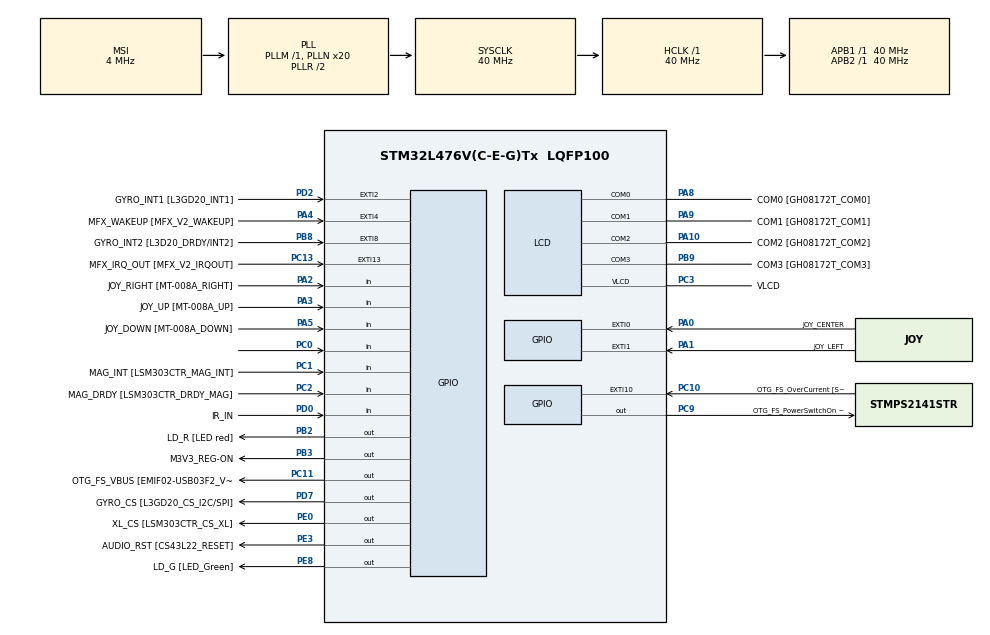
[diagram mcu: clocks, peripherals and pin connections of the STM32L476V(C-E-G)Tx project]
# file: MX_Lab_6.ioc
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Mcu.Family=STM32L4
Mcu.Name=STM32L476V(C-E-G)Tx
Mcu.Package=LQFP100
NVIC.EXTI0_IRQn=true\:0\:0\:false\:false\:true\:true\:true\:true
NVIC.EXTI1_IRQn=true\:0\:0\:false\:false\:true\:true\:true\:true
NVIC.LCD_IRQn=true\:0\:0\:false\:false\:true\:true\:false\:true
NVIC.PriorityGroup=NVIC_PRIORITYGROUP_4
NVIC.TIM7_IRQn=true\:0\:0\:false\:false\:true\:true\:true\:true
PA0.GPIO_Label=JOY_CENTER
PA0.GPIO_PuPd=GPIO_PULLDOWN
PA0.Signal=GPXTI0
PA1.GPIO_Label=JOY_LEFT
PA1.GPIO_PuPd=GPIO_PULLDOWN
PA1.Signal=GPXTI1
PA10.GPIO_Label=COM2 [GH08172T_COM2]
PA10.GPIO_Mode=GPIO_MODE_AF_PP
PA10.GPIO_PuPd=GPIO_NOPULL
PA10.GPIO_Speed=GPIO_SPEED_FREQ_LOW
PA10.Mode=1/4 Duty Cycle
PA10.Signal=LCD_COM2
PA11.GPIO_Label=OTG_FS_DM [EMIF02-USB03F2_D-out]
PA11.GPIO_Mode=GPIO_MODE_AF_PP
PA11.GPIO_PuPd=GPIO_NOPULL
PA11.GPIO_Speed=GPIO_SPEED_FREQ_VERY_HIGH
PA11.Signal=USB_OTG_FS_DM
PA12.GPIO_Label=OTG_FS_DP [EMIF02-USB03F2_D+out]
PA12.GPIO_Mode=GPIO_MODE_AF_PP
PA12.GPIO_PuPd=GPIO_NOPULL
PA12.GPIO_Speed=GPIO_SPEED_FREQ_VERY_HIGH
PA12.Signal=USB_OTG_FS_DP
PA13\ (JTMS-SWDIO).GPIO_Label=SWDIO
PA13\ (JTMS-SWDIO).Mode=Serial_Wire
PA13\ (JTMS-SWDIO).Signal=SYS_JTMS-SWDIO
PA14\ (JTCK-SWCLK).GPIO_Label=SWCLK
PA14\ (JTCK-SWCLK).Mode=Serial_Wire
PA14\ (JTCK-SWCLK).Signal=SYS_JTCK-SWCLK
PA15\ (JTDI).GPIO_Label=SEG10 [GH08172T_SEG10]
PA15\ (JTDI).GPIO_Mode=GPIO_MODE_AF_PP
PA15\ (JTDI).GPIO_PuPd=GPIO_NOPULL
PA15\ (JTDI).GPIO_Speed=GPIO_SPEED_FREQ_LOW
PA15\ (JTDI).Signal=LCD_SEG17
PA2.GPIO_Label=JOY_RIGHT [MT-008A_RIGHT]
PA2.GPIO_Mode=GPIO_MODE_INPUT
PA2.GPIO_PuPd=GPIO_PULLDOWN
PA2.Signal=GPIO_Input
PA3.GPIO_Label=JOY_UP [MT-008A_UP]
PA3.GPIO_Mode=GPIO_MODE_INPUT
PA3.GPIO_PuPd=GPIO_PULLDOWN
PA3.Signal=GPIO_Input
PA4.GPIO_Label=MFX_WAKEUP [MFX_V2_WAKEUP]
PA4.GPIO_ModeDefaultEXTI=GPIO_MODE_EVT_RISING
PA4.GPIO_PuPd=GPIO_NOPULL
PA4.Signal=GPXTI4
PA5.GPIO_Label=JOY_DOWN [MT-008A_DOWN]
PA5.GPIO_Mode=GPIO_MODE_INPUT
PA5.GPIO_PuPd=GPIO_PULLDOWN
PA5.Signal=GPIO_Input
PA6.GPIO_Label=SEG23 [GH08172T_SEG23]
PA6.GPIO_Mode=GPIO_MODE_AF_PP
PA6.GPIO_PuPd=GPIO_NOPULL
PA6.GPIO_Speed=GPIO_SPEED_FREQ_LOW
PA6.Signal=LCD_SEG3
PA7.GPIO_Label=SEG0 [GH08172T_SEG0]
PA7.GPIO_Mode=GPIO_MODE_AF_PP
PA7.GPIO_PuPd=GPIO_NOPULL
PA7.GPIO_Speed=GPIO_SPEED_FREQ_LOW
PA7.Signal=LCD_SEG4
PA8.GPIO_Label=COM0 [GH08172T_COM0]
PA8.GPIO_Mode=GPIO_MODE_AF_PP
PA8.GPIO_PuPd=GPIO_NOPULL
PA8.GPIO_Speed=GPIO_SPEED_FREQ_LOW
PA8.Mode=1/4 Duty Cycle
PA8.Signal=LCD_COM0
PA9.GPIO_Label=COM1 [GH08172T_COM1]
PA9.GPIO_Mode=GPIO_MODE_AF_PP
PA9.GPIO_PuPd=GPIO_NOPULL
PA9.GPIO_Speed=GPIO_SPEED_FREQ_LOW
PA9.Mode=1/4 Duty Cycle
PA9.Signal=LCD_COM1
PB0.GPIO_Label=SEG21 [GH08172T_SEG21]
PB0.GPIO_Mode=GPIO_MODE_AF_PP
PB0.GPIO_PuPd=GPIO_NOPULL
PB0.GPIO_Speed=GPIO_SPEED_FREQ_LOW
PB0.Signal=LCD_SEG5
PB1.GPIO_Label=SEG2 [GH08172T_SEG2]
PB1.GPIO_Mode=GPIO_MODE_AF_PP
PB1.GPIO_PuPd=GPIO_NOPULL
PB1.GPIO_Speed=GPIO_SPEED_FREQ_LOW
PB1.Signal=LCD_SEG6
PB10.GPIO_Label=MFX_I2C_SLC [MFX_V2_I2C_SCL]
PB10.GPIO_Mode=GPIO_MODE_AF_OD
PB10.GPIO_Pu=GPIO_PULLUP
PB10.GPIO_Speed=GPIO_SPEED_FREQ_VERY_HIGH
PB10.Signal=I2C2_SCL
PB11.GPIO_Label=MFX_I2C_SDA [MFX_V2_I2C_SDA]
PB11.GPIO_Mode=GPIO_MODE_AF_OD
PB11.GPIO_Pu=GPIO_PULLUP
PB11.GPIO_Speed=GPIO_SPEED_FREQ_VERY_HIGH
PB11.Signal=I2C2_SDA
PB12.GPIO_Label=SEG20 [GH08172T_SEG20]
PB12.GPIO_Mode=GPIO_MODE_AF_PP
PB12.GPIO_PuPd=GPIO_NOPULL
PB12.GPIO_Speed=GPIO_SPEED_FREQ_LOW
PB12.Signal=LCD_SEG12
PB13.GPIO_Label=SEG3 [GH08172T_SEG3]
PB13.GPIO_Mode=GPIO_MODE_AF_PP
PB13.GPIO_PuPd=GPIO_NOPULL
PB13.GPIO_Speed=GPIO_SPEED_FREQ_LOW
PB13.Signal=LCD_SEG13
PB14.GPIO_Label=SEG19 [GH08172T_SEG19]
PB14.GPIO_Mode=GPIO_MODE_AF_PP
PB14.GPIO_PuPd=GPIO_NOPULL
PB14.GPIO_Speed=GPIO_SPEED_FREQ_LOW
PB14.Signal=LCD_SEG14
PB15.GPIO_Label=SEG4 [GH08172T_SEG4]
PB15.GPIO_Mode=GPIO_MODE_AF_PP
PB15.GPIO_PuPd=GPIO_NOPULL
PB15.GPIO_Speed=GPIO_SPEED_FREQ_LOW
PB15.Signal=LCD_SEG15
PB2.GPIO_Label=LD_R [LED red]
PB2.GPIO_ModeDefaultOutputPP=GPIO_MODE_OUTPUT_PP
PB2.GPIO_PuPd=GPIO_PULLUP
PB2.GPIO_Speed=GPIO_SPEED_FREQ_VERY_HIGH
PB2.Signal=GPIO_Output
PB3\ (JTDO-TRACESWO).GPIO_Label=M3V3_REG-ON
PB3\ (JTDO-TRACESWO).GPIO_ModeDefaultOutputPP=GPIO_MODE_OUTPUT_PP
PB3\ (JTDO-TRACESWO).GPIO_PuPd=GPIO_NOPULL
PB3\ (JTDO-TRACESWO).GPIO_Speed=GPIO_SPEED_FREQ_LOW
PB3\ (JTDO-TRACESWO).Signal=GPIO_Output
PB4\ (NJTRST).GPIO_Label=SEG11 [GH08172T_SEG11]
PB4\ (NJTRST).GPIO_Mode=GPIO_MODE_AF_PP
PB4\ (NJTRST).GPIO_PuPd=GPIO_NOPULL
PB4\ (NJTRST).GPIO_Speed=GPIO_SPEED_FREQ_LOW
PB4\ (NJTRST).Signal=LCD_SEG8
PB5.GPIO_Label=SEG12 [GH08172T_SEG12]
PB5.GPIO_Mode=GPIO_MODE_AF_PP
PB5.GPIO_PuPd=GPIO_NOPULL
PB5.GPIO_Speed=GPIO_SPEED_FREQ_LOW
PB5.Signal=LCD_SEG9
PB6.GPIO_FM6=__NULL
PB6.GPIO_Label=I2C1_SCL [SSM-104-L-DH_SCL]
PB6.GPIO_Mode=GPIO_MODE_AF_OD
PB6.GPIO_Pu=GPIO_PULLUP
PB6.GPIO_Speed=GPIO_SPEED_FREQ_VERY_HIGH
PB6.Signal=I2C1_SCL
PB7.GPIO_FM7=__NULL
PB7.GPIO_Label=I2C1_SDA [SSM-104-L-DH_SDA]
PB7.GPIO_Mode=GPIO_MODE_AF_OD
PB7.GPIO_Pu=GPIO_PULLUP
PB7.GPIO_Speed=GPIO_SPEED_FREQ_VERY_HIGH
PB7.Signal=I2C1_SDA
PB8.GPIO_Label=GYRO_INT2 [L3D20_DRDY/INT2]
PB8.GPIO_ModeDefaultEXTI=GPIO_MODE_EVT_RISING
PB8.GPIO_PuPd=GPIO_NOPULL
PB8.Signal=GPXTI8
PB9.GPIO_FM9=__NULL
PB9.GPIO_Label=COM3 [GH08172T_COM3]
PB9.GPIO_Mode=GPIO_MODE_AF_PP
PB9.GPIO_PuPd=GPIO_NOPULL
PB9.GPIO_Speed=GPIO_SPEED_FREQ_LOW
PB9.Mode=1/4 Duty Cycle
PB9.Signal=LCD_COM3
PC0.Signal=GPIO_Input
PC1.GPIO_Label=MAG_INT [LSM303CTR_MAG_INT]
PC1.GPIO_Mode=GPIO_MODE_INPUT
PC1.GPIO_PuPd=GPIO_NOPULL
PC1.Signal=GPIO_Input
PC10.GPIO_Label=OTG_FS_OverCurrent [STMPS2141STR_FAULT]
PC10.GPIO_ModeDefaultEXTI=GPIO_MODE_EVT_RISING
PC10.GPIO_PuPd=GPIO_NOPULL
PC10.Signal=GPXTI10
PC11.GPIO_Label=OTG_FS_VBUS [EMIF02-USB03F2_Vbus]
PC11.GPIO_ModeDefaultOutputPP=GPIO_MODE_OUTPUT_PP
PC11.GPIO_PuPd=GPIO_NOPULL
PC11.GPIO_Speed=GPIO_SPEED_FREQ_LOW
PC11.Signal=GPIO_Output
PC13.GPIO_Label=MFX_IRQ_OUT [MFX_V2_IRQOUT]
PC13.GPIO_ModeDefaultEXTI=GPIO_MODE_EVT_RISING
PC13.GPIO_PuPd=GPIO_NOPULL
PC13.Signal=GPXTI13
PC14-OSC32_IN\ (PC14).Mode=LSE-External-Oscillator
PC14-OSC32_IN\ (PC14).Signal=RCC_OSC32_IN
PC15-OSC32_OUT\ (PC15).Mode=LSE-External-Oscillator
PC15-OSC32_OUT\ (PC15).Signal=RCC_OSC32_OUT
PC2.GPIO_Label=MAG_DRDY [LSM303CTR_DRDY_MAG]
PC2.GPIO_Mode=GPIO_MODE_INPUT
PC2.GPIO_PuPd=GPIO_NOPULL
PC2.Signal=GPIO_Input
PC3.GPIO_Label=VLCD
PC3.GPIO_Mode=GPIO_MODE_AF_PP
PC3.GPIO_PuPd=GPIO_NOPULL
PC3.GPIO_Speed=GPIO_SPEED_FREQ_LOW
PC3.Mode=1/4 Duty Cycle
PC3.Signal=LCD_VLCD
PC4.GPIO_Label=SEG22 [GH08172T_SEG22]
PC4.GPIO_Mode=GPIO_MODE_AF_PP
PC4.GPIO_PuPd=GPIO_NOPULL
PC4.GPIO_Speed=GPIO_SPEED_FREQ_LOW
PC4.Signal=LCD_SEG22
PC5.GPIO_Label=SEG1 [GH08172T_SEG1]
PC5.GPIO_Mode=GPIO_MODE_AF_PP
PC5.GPIO_PuPd=GPIO_NOPULL
PC5.GPIO_Speed=GPIO_SPEED_FREQ_LOW
PC5.Signal=LCD_SEG23
PC6.GPIO_Label=SEG14 [GH08172T_SEG14]
PC6.GPIO_Mode=GPIO_MODE_AF_PP
PC6.GPIO_PuPd=GPIO_NOPULL
PC6.GPIO_Speed=GPIO_SPEED_FREQ_LOW
PC6.Signal=LCD_SEG24
PC7.GPIO_Label=SEG9 [GH08172T_SEG9]
PC7.GPIO_Mode=GPIO_MODE_AF_PP
PC7.GPIO_PuPd=GPIO_NOPULL
PC7.GPIO_Speed=GPIO_SPEED_FREQ_LOW
PC7.Signal=LCD_SEG25
PC8.GPIO_Label=SEG13 [GH08172T_SEG13]
PC8.GPIO_Mode=GPIO_MODE_AF_PP
PC8.GPIO_PuPd=GPIO_NOPULL
PC8.GPIO_Speed=GPIO_SPEED_FREQ_LOW
PC8.Signal=LCD_SEG26
PC9.GPIO_Label=OTG_FS_PowerSwitchOn [STMPS2141STR_EN]
PC9.GPIO_ModeDefaultOutputPP=GPIO_MODE_OUTPUT_PP
PC9.GPIO_PuPd=GPIO_NOPULL
PC9.GPIO_Speed=GPIO_SPEED_FREQ_LOW
PC9.PinState=GPIO_PIN_SET
PC9.Signal=GPIO_Output
PD0.GPIO_Label=IR_IN
PD0.Signal=GPIO_Input
PD1.GPIO_Label=MEMS_SCK [L3GD20_SCL/SPC]
PD1.GPIO_Mode=GPIO_MODE_AF_PP
PD1.GPIO_PuPd=GPIO_NOPULL
PD1.GPIO_Speed=GPIO_SPEED_FREQ_VERY_HIGH
PD1.Signal=SPI2_SCK
PD10.GPIO_Label=SEG17 [GH08172T_SEG17]
PD10.GPIO_Mode=GPIO_MODE_AF_PP
PD10.GPIO_PuPd=GPIO_NOPULL
PD10.GPIO_Speed=GPIO_SPEED_FREQ_LOW
PD10.Signal=LCD_SEG30
PD11.GPIO_Label=SEG6 [GH08172T_SEG6]
PD11.GPIO_Mode=GPIO_MODE_AF_PP
PD11.GPIO_PuPd=GPIO_NOPULL
PD11.GPIO_Speed=GPIO_SPEED_FREQ_LOW
PD11.Signal=LCD_SEG31
PD12.GPIO_Label=SEG16 [GH08172T_SEG16]
PD12.GPIO_Mode=GPIO_MODE_AF_PP
PD12.GPIO_PuPd=GPIO_NOPULL
PD12.GPIO_Speed=GPIO_SPEED_FREQ_LOW
PD12.Signal=LCD_SEG32
PD13.GPIO_Label=SEG7 [GH08172T_SEG7]
PD13.GPIO_Mode=GPIO_MODE_AF_PP
PD13.GPIO_PuPd=GPIO_NOPULL
PD13.GPIO_Speed=GPIO_SPEED_FREQ_LOW
PD13.Signal=LCD_SEG33
PD14.GPIO_Label=SEG15 [GH08172T_SEG15]
PD14.GPIO_Mode=GPIO_MODE_AF_PP
PD14.GPIO_PuPd=GPIO_NOPULL
PD14.GPIO_Speed=GPIO_SPEED_FREQ_LOW
PD14.Signal=LCD_SEG34
PD15.GPIO_Label=SEG8 [GH08172T_SEG8]
PD15.GPIO_Mode=GPIO_MODE_AF_PP
PD15.GPIO_PuPd=GPIO_NOPULL
PD15.GPIO_Speed=GPIO_SPEED_FREQ_LOW
PD15.Signal=LCD_SEG35
PD2.GPIO_Label=GYRO_INT1 [L3GD20_INT1]
PD2.GPIO_ModeDefaultEXTI=GPIO_MODE_EVT_RISING
PD2.GPIO_PuPd=GPIO_NOPULL
PD2.Signal=GPXTI2
PD3.GPIO_Label=MEMS_MISO [L3GD20_SA0/SDO]
PD3.GPIO_Mode=GPIO_MODE_AF_PP
PD3.GPIO_PuPd=GPIO_NOPULL
PD3.GPIO_Speed=GPIO_SPEED_FREQ_VERY_HIGH
PD3.Signal=SPI2_MISO
PD4.GPIO_Label=MEMS_MOSI [L3GD20_SDA/SDI/SDO]
PD4.GPIO_Mode=GPIO_MODE_AF_PP
PD4.GPIO_PuPd=GPIO_NOPULL
PD4.GPIO_Speed=GPIO_SPEED_FREQ_VERY_HIGH
PD4.Signal=SPI2_MOSI
PD5.GPIO_Label=USART_TX
PD5.GPIO_Mode=GPIO_MODE_AF_PP
PD5.GPIO_PuPd=GPIO_PULLUP
PD5.GPIO_Speed=GPIO_SPEED_FREQ_VERY_HIGH
PD5.Signal=USART2_TX
PD6.GPIO_Label=USART_RX
PD6.GPIO_Mode=GPIO_MODE_AF_PP
PD6.GPIO_PuPd=GPIO_PULLUP
PD6.GPIO_Speed=GPIO_SPEED_FREQ_VERY_HIGH
PD6.Signal=USART2_RX
PD7.GPIO_Label=GYRO_CS [L3GD20_CS_I2C/SPI]
PD7.GPIO_ModeDefaultOutputPP=GPIO_MODE_OUTPUT_PP
PD7.GPIO_PuPd=GPIO_NOPULL
PD7.GPIO_Speed=GPIO_SPEED_FREQ_VERY_HIGH
PD7.Signal=GPIO_Output
PD8.GPIO_Label=SEG18 [GH08172T_SEG18]
PD8.GPIO_Mode=GPIO_MODE_AF_PP
PD8.GPIO_PuPd=GPIO_NOPULL
PD8.GPIO_Speed=GPIO_SPEED_FREQ_LOW
PD8.Signal=LCD_SEG28
PD9.GPIO_Label=SEG5 [GH08172T_SEG5]
PD9.GPIO_Mode=GPIO_MODE_AF_PP
PD9.GPIO_PuPd=GPIO_NOPULL
PD9.GPIO_Speed=GPIO_SPEED_FREQ_LOW
PD9.Signal=LCD_SEG29
PE0.GPIO_Label=XL_CS [LSM303CTR_CS_XL]
PE0.GPIO_ModeDefaultOutputPP=GPIO_MODE_OUTPUT_PP
PE0.GPIO_PuPd=GPIO_NOPULL
PE0.GPIO_Speed=GPIO_SPEED_FREQ_LOW
PE0.Signal=GPIO_Output
PE10.GPIO_Label=QSPI_CLK [N25Q128A13EF840E_C]
PE10.GPIO_Mode=GPIO_MODE_AF_PP
PE10.GPIO_PuPd=GPIO_NOPULL
PE10.GPIO_Speed=GPIO_SPEED_FREQ_VERY_HIGH
PE10.Signal=QUADSPI_CLK
PE11.GPIO_Label=QSPI_CS [N25Q128A13EF840E_S\#]
PE11.GPIO_Mode=GPIO_MODE_AF_PP
PE11.GPIO_PuPd=GPIO_NOPULL
PE11.GPIO_Speed=GPIO_SPEED_FREQ_VERY_HIGH
PE11.Signal=QUADSPI_NCS
PE12.GPIO_Label=QSPI_D0 [N25Q128A13EF840E_DQ0]
PE12.GPIO_Mode=GPIO_MODE_AF_PP
PE12.GPIO_PuPd=GPIO_NOPULL
PE12.GPIO_Speed=GPIO_SPEED_FREQ_VERY_HIGH
PE12.Signal=QUADSPI_BK1_IO0
PE13.GPIO_Label=QSPI_D1 [N25Q128A13EF840E_DQ1]
PE13.GPIO_Mode=GPIO_MODE_AF_PP
PE13.GPIO_PuPd=GPIO_NOPULL
PE13.GPIO_Speed=GPIO_SPEED_FREQ_VERY_HIGH
PE13.Signal=QUADSPI_BK1_IO1
PE14.GPIO_Label=QSPI_D2 [N25Q128A13EF840E_DQ2]
PE14.GPIO_Mode=GPIO_MODE_AF_PP
PE14.GPIO_PuPd=GPIO_NOPULL
PE14.GPIO_Speed=GPIO_SPEED_FREQ_VERY_HIGH
PE14.Signal=QUADSPI_BK1_IO2
PE15.GPIO_Label=QSPI_D3 [N25Q128A13EF840E_DQ3]
PE15.GPIO_Mode=GPIO_MODE_AF_PP
PE15.GPIO_PuPd=GPIO_NOPULL
PE15.GPIO_Speed=GPIO_SPEED_FREQ_VERY_HIGH
PE15.Signal=QUADSPI_BK1_IO3
PE2.GPIO_Label=SAI1_MCK [CS43L22_MCLK]
PE2.GPIO_Mode=GPIO_MODE_AF_PP
PE2.GPIO_PuPd=GPIO_NOPULL
PE2.GPIO_Speed=GPIO_SPEED_FREQ_VERY_HIGH
PE2.Signal=SAI1_MCLK_A
PE3.GPIO_Label=AUDIO_RST [CS43L22_RESET]
PE3.GPIO_ModeDefaultOutputPP=GPIO_MODE_OUTPUT_PP
PE3.GPIO_PuPd=GPIO_NOPULL
PE3.GPIO_Speed=GPIO_SPEED_FREQ_HIGH
PE3.Signal=GPIO_Output
PE4.GPIO_Label=SAI1_FS [CS43L22_LRCK]
PE4.GPIO_Mode=GPIO_MODE_AF_PP
PE4.GPIO_PuPd=GPIO_NOPULL
PE4.GPIO_Speed=GPIO_SPEED_FREQ_VERY_HIGH
PE4.Signal=SAI1_FS_A
PE5.GPIO_Label=SAI1_SCK [CS43L22_SCLK]
PE5.GPIO_Mode=GPIO_MODE_AF_PP
PE5.GPIO_PuPd=GPIO_NOPULL
PE5.GPIO_Speed=GPIO_SPEED_FREQ_VERY_HIGH
PE5.Signal=SAI1_SCK_A
PE6.GPIO_Label=SAI1_SD [CS43L22_SDIN]
PE6.GPIO_Mode=GPIO_MODE_AF_PP
PE6.GPIO_PuPd=GPIO_NOPULL
PE6.GPIO_Speed=GPIO_SPEED_FREQ_VERY_HIGH
PE6.Signal=SAI1_SD_A
PE7.GPIO_Label=AUDIO_DIN [MP34DT01_DOUT]
PE7.GPIO_Mode=GPIO_MODE_AF_PP
PE7.GPIO_PuPd=GPIO_NOPULL
PE7.GPIO_Speed=GPIO_SPEED_FREQ_VERY_HIGH
PE7.Signal=SAI1_SD_B
PE8.GPIO_Label=LD_G [LED_Green]
PE8.GPIO_ModeDefaultOutputPP=GPIO_MODE_OUTPUT_PP
PE8.GPIO_PuPd=GPIO_PULLUP
PE8.GPIO_Speed=GPIO_SPEED_FREQ_VERY_HIGH
PE8.Signal=GPIO_Output
PE9.GPIO_Label=AUDIO_CLK [MP34DT01_CLK]
PE9.GPIO_Mode=GPIO_MODE_AF_PP
PE9.GPIO_PuPd=GPIO_NOPULL
PE9.GPIO_Speed=GPIO_SPEED_FREQ_LOW
PE9.Signal=SAI1_FS_B
PH0-OSC_IN\ (PH0).Mode=HSE-External-Oscillator
PH0-OSC_IN\ (PH0).Signal=RCC_OSC_IN
PH1-OSC_OUT\ (PH1).Mode=HSE-External-Oscillator
PH1-OSC_OUT\ (PH1).Signal=RCC_OSC_OUT
ProjectManager.HeapSize=0x200
ProjectManager.StackSize=0x400
ProjectManager.TargetToolchain=MDK-ARM V5.32
RCC.ADCFreq_Value=48000000
RCC.AHBFreq_Value=40000000
RCC.APB1Freq_Value=40000000
RCC.APB1TimFreq_Value=40000000
RCC.APB2Freq_Value=40000000
RCC.APB2TimFreq_Value=40000000
RCC.CortexFreq_Value=40000000
RCC.HCLKFreq_Value=40000000
RCC.HSE_VALUE=8000000
RCC.HSI_VALUE=16000000
RCC.MSI_VALUE=4000000
RCC.PLLN=20
RCC.PLLSAI1N=24
RCC.PREFETCH_ENABLE=1
RCC.SYSCLKFreq_VALUE=40000000
RCC.SYSCLKSource=RCC_SYSCLKSOURCE_PLLCLK
RCC.USBFreq_Value=48000000
RCC.VCOOutputFreq_Value=80000000
TIM7.Period=199
TIM7.Prescaler=19
VP_RTC_VS_RTC_Activate.Mode=RTC_Enabled
VP_TIM7_VS_ClockSourceINT.Mode=Enable_Timer
board=STM32L476G-DISCO

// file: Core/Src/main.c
/* USER CODE BEGIN Header */
/**
  ******************************************************************************
  * @file           : main.c
  * @brief          : Main program body
  ******************************************************************************
  * @attention
  *
  * Copyright (c) 2024 STMicroelectronics.
  * All rights reserved.
  *
  * This software is licensed under terms that can be found in the LICENSE file
  * in the root directory of this software component.
  * If no LICENSE file comes with this software, it is provided AS-IS.
  *
  ******************************************************************************
  */
/* USER CODE END Header */
#include "main.h"

LCD_HandleTypeDef hlcd;

RTC_HandleTypeDef hrtc;

TIM_HandleTypeDef htim7;

/* USER CODE BEGIN PV */
volatile unsigned int irdat[SAMPLE_COUNT];
unsigned int z;
extern int flag;
#define IR_A 0x00ff22dd
#define IR_B 0x00ff02fd
#define IR_C 0x00ffc23d
#define IR_POWER 0x00ff629d
#define IR_UP 0x00ff9867
#define IR_DOWN 0x00ff38c7
#define IR_LEFT 0x00ff30cf
#define IR_RIGHT 0x00ff7a85
#define IR_CIRCLE 0x00ff18e7
/* USER CODE END PV */

void SystemClock_Config(void);
static void MX_GPIO_Init(void);
static void MX_RTC_Init(void);
static void MX_LCD_Init(void);
static void MX_TIM7_Init(void);

/* USER CODE BEGIN 0 */
uint32_t parseIRCode()
	{
    uint32_t num = 0;
		int count = 0;
		int arrayCount = 0;
		uint32_t mask = 0x80000000;
		/*skips header */
		while(irdat[arrayCount] !=0)
		{
			arrayCount++;
		}
		while(irdat[arrayCount] !=1)
		{
			arrayCount++;
		}
		/* skips header */
		while(arrayCount != SAMPLE_COUNT)
		{
			if(irdat[arrayCount] ==0)
			{
				count++;
			}
			else
			{
				if(count < 8 && count !=0)
				{
					mask/=2;
				}
				else if(count > 8 && count != 0)
				{
					num |= mask;
					mask/=2;
				}
				count = 0;
			}
			arrayCount++;
		}
		return num;
	}
/* USER CODE END 0 */

int main(void)
{

  /* MCU Configuration--------------------------------------------------------*/

  /* Reset of all peripherals, Initializes the Flash interface and the Systick. */
  HAL_Init();

  /* Configure the system clock */
  SystemClock_Config();

  /* Initialize all configured peripherals */
  MX_GPIO_Init();
  MX_RTC_Init();
  MX_LCD_Init();
  MX_TIM7_Init();
  /* USER CODE BEGIN 2 */
	HAL_TIM_Base_Start_IT(&htim7);
  /* USER CODE END 2 */

  /* Infinite loop */
  /* USER CODE BEGIN WHILE */
  while (1)
  {
		if(flag == 1)
		{
			uint32_t num = parseIRCode();
			if(num == IR_A)
			{
				break;
			}
			if(num == IR_B)
			{
				HAL_GPIO_TogglePin(LD_R_GPIO_Port, LD_R_Pin);
			}
			if(num == IR_C)
			{
				break;
			}
			if(num == IR_POWER)
			{
				break;
			}
			if(num == IR_UP)
			{
				break;
			}
			if(num == IR_DOWN)
			{
				break;
			}
			if(num == IR_LEFT)
			{
				break;
			}
			if(num == IR_RIGHT)
			{
				break;
			}
			if(num == IR_CIRCLE)
			{
				HAL_GPIO_TogglePin(LD_G_GPIO_Port, LD_G_Pin);
			}
			flag=0;
		}
    /* USER CODE END WHILE */

  }
}

void SystemClock_Config(void)
{
  RCC_OscInitTypeDef RCC_OscInitStruct = {0};
  RCC_ClkInitTypeDef RCC_ClkInitStruct = {0};

  /** Configure the main internal regulator output voltage
  */
  if (HAL_PWREx_ControlVoltageScaling(PWR_REGULATOR_VOLTAGE_SCALE1) != HAL_OK)
  {
    Error_Handler();
  }

  /** Configure LSE Drive Capability
  */
  HAL_PWR_EnableBkUpAccess();
  __HAL_RCC_LSEDRIVE_CONFIG(RCC_LSEDRIVE_LOW);

  /** Initializes the RCC Oscillators according to the specified parameters
  * in the RCC_OscInitTypeDef structure.
  */
  RCC_OscInitStruct.OscillatorType = RCC_OSCILLATORTYPE_LSI|RCC_OSCILLATORTYPE_LSE
                              |RCC_OSCILLATORTYPE_MSI;
  RCC_OscInitStruct.LSEState = RCC_LSE_ON;
  RCC_OscInitStruct.LSIState = RCC_LSI_ON;
  RCC_OscInitStruct.MSIState = RCC_MSI_ON;
  RCC_OscInitStruct.MSICalibrationValue = 0;
  RCC_OscInitStruct.MSIClockRange = RCC_MSIRANGE_6;
  RCC_OscInitStruct.PLL.PLLState = RCC_PLL_ON;
  RCC_OscInitStruct.PLL.PLLSource = RCC_PLLSOURCE_MSI;
  RCC_OscInitStruct.PLL.PLLM = 1;
  RCC_OscInitStruct.PLL.PLLN = 20;
  RCC_OscInitStruct.PLL.PLLP = RCC_PLLP_DIV7;
  RCC_OscInitStruct.PLL.PLLQ = RCC_PLLQ_DIV2;
  RCC_OscInitStruct.PLL.PLLR = RCC_PLLR_DIV2;
  if (HAL_RCC_OscConfig(&RCC_OscInitStruct) != HAL_OK)
  {
    Error_Handler();
  }

  /** Initializes the CPU, AHB and APB buses clocks
  */
  RCC_ClkInitStruct.ClockType = RCC_CLOCKTYPE_HCLK|RCC_CLOCKTYPE_SYSCLK
                              |RCC_CLOCKTYPE_PCLK1|RCC_CLOCKTYPE_PCLK2;
  RCC_ClkInitStruct.SYSCLKSource = RCC_SYSCLKSOURCE_PLLCLK;
  RCC_ClkInitStruct.AHBCLKDivider = RCC_SYSCLK_DIV1;
  RCC_ClkInitStruct.APB1CLKDivider = RCC_HCLK_DIV1;
  RCC_ClkInitStruct.APB2CLKDivider = RCC_HCLK_DIV1;

  if (HAL_RCC_ClockConfig(&RCC_ClkInitStruct, FLASH_LATENCY_2) != HAL_OK)
  {
    Error_Handler();
  }

  /** Enable MSI Auto calibration
  */
  HAL_RCCEx_EnableMSIPLLMode();
}

static void MX_LCD_Init(void)
{

  hlcd.Instance = LCD;
  hlcd.Init.Prescaler = LCD_PRESCALER_1;
  hlcd.Init.Divider = LCD_DIVIDER_16;
  hlcd.Init.Duty = LCD_DUTY_1_4;
  hlcd.Init.Bias = LCD_BIAS_1_4;
  hlcd.Init.VoltageSource = LCD_VOLTAGESOURCE_INTERNAL;
  hlcd.Init.Contrast = LCD_CONTRASTLEVEL_0;
  hlcd.Init.DeadTime = LCD_DEADTIME_0;
  hlcd.Init.PulseOnDuration = LCD_PULSEONDURATION_0;
  hlcd.Init.MuxSegment = LCD_MUXSEGMENT_DISABLE;
  hlcd.Init.BlinkMode = LCD_BLINKMODE_OFF;
  hlcd.Init.BlinkFrequency = LCD_BLINKFREQUENCY_DIV8;
  hlcd.Init.HighDrive = LCD_HIGHDRIVE_DISABLE;
  if (HAL_LCD_Init(&hlcd) != HAL_OK)
  {
    Error_Handler();
  }

}

static void MX_RTC_Init(void)
{

  /** Initialize RTC Only
  */
  hrtc.Instance = RTC;
  hrtc.Init.HourFormat = RTC_HOURFORMAT_24;
  hrtc.Init.AsynchPrediv = 127;
  hrtc.Init.SynchPrediv = 255;
  hrtc.Init.OutPut = RTC_OUTPUT_DISABLE;
  hrtc.Init.OutPutRemap = RTC_OUTPUT_REMAP_NONE;
  hrtc.Init.OutPutPolarity = RTC_OUTPUT_POLARITY_HIGH;
  hrtc.Init.OutPutType = RTC_OUTPUT_TYPE_OPENDRAIN;
  if (HAL_RTC_Init(&hrtc) != HAL_OK)
  {
    Error_Handler();
  }

}

static void MX_TIM7_Init(void)
{

  TIM_MasterConfigTypeDef sMasterConfig = {0};

  htim7.Instance = TIM7;
  htim7.Init.Prescaler = 19;
  htim7.Init.CounterMode = TIM_COUNTERMODE_UP;
  htim7.Init.Period = 199;
  htim7.Init.AutoReloadPreload = TIM_AUTORELOAD_PRELOAD_DISABLE;
  if (HAL_TIM_Base_Init(&htim7) != HAL_OK)
  {
    Error_Handler();
  }
  sMasterConfig.MasterOutputTrigger = TIM_TRGO_RESET;
  sMasterConfig.MasterSlaveMode = TIM_MASTERSLAVEMODE_DISABLE;
  if (HAL_TIMEx_MasterConfigSynchronization(&htim7, &sMasterConfig) != HAL_OK)
  {
    Error_Handler();
  }

}

static void MX_GPIO_Init(void)
{
  GPIO_InitTypeDef GPIO_InitStruct = {0};

  /* GPIO Ports Clock Enable */
  __HAL_RCC_GPIOE_CLK_ENABLE();
  __HAL_RCC_GPIOC_CLK_ENABLE();
  __HAL_RCC_GPIOH_CLK_ENABLE();
  __HAL_RCC_GPIOA_CLK_ENABLE();
  __HAL_RCC_GPIOB_CLK_ENABLE();
  __HAL_RCC_GPIOD_CLK_ENABLE();

  /*Configure GPIO pin Output Level */
  HAL_GPIO_WritePin(GPIOE, AUDIO_RST_Pin|LD_G_Pin|XL_CS_Pin, GPIO_PIN_RESET);

  /*Configure GPIO pin Output Level */
  HAL_GPIO_WritePin(GPIOB, LD_R_Pin|M3V3_REG_ON_Pin, GPIO_PIN_RESET);

  /*Configure GPIO pin Output Level */
  HAL_GPIO_WritePin(OTG_FS_PowerSwitchOn_GPIO_Port, OTG_FS_PowerSwitchOn_Pin, GPIO_PIN_SET);

  /*Configure GPIO pin Output Level */
  HAL_GPIO_WritePin(OTG_FS_VBUS_GPIO_Port, OTG_FS_VBUS_Pin, GPIO_PIN_RESET);

  /*Configure GPIO pin Output Level */
  HAL_GPIO_WritePin(GYRO_CS_GPIO_Port, GYRO_CS_Pin, GPIO_PIN_RESET);

  /*Configure GPIO pins : SAI1_MCK_Pin SAI1_FS_Pin SAI1_SCK_Pin SAI1_SD_Pin
                           AUDIO_DIN_Pin */
  GPIO_InitStruct.Pin = SAI1_MCK_Pin|SAI1_FS_Pin|SAI1_SCK_Pin|SAI1_SD_Pin
                          |AUDIO_DIN_Pin;
  GPIO_InitStruct.Mode = GPIO_MODE_AF_PP;
  GPIO_InitStruct.Pull = GPIO_NOPULL;
  GPIO_InitStruct.Speed = GPIO_SPEED_FREQ_VERY_HIGH;
  GPIO_InitStruct.Alternate = GPIO_AF13_SAI1;
  HAL_GPIO_Init(GPIOE, &GPIO_InitStruct);

  /*Configure GPIO pin : AUDIO_RST_Pin */
  GPIO_InitStruct.Pin = AUDIO_RST_Pin;
  GPIO_InitStruct.Mode = GPIO_MODE_OUTPUT_PP;
  GPIO_InitStruct.Pull = GPIO_NOPULL;
  GPIO_InitStruct.Speed = GPIO_SPEED_FREQ_HIGH;
  HAL_GPIO_Init(AUDIO_RST_GPIO_Port, &GPIO_InitStruct);

  /*Configure GPIO pins : MFX_IRQ_OUT_Pin OTG_FS_OverCurrent_Pin */
  GPIO_InitStruct.Pin = MFX_IRQ_OUT_Pin|OTG_FS_OverCurrent_Pin;
  GPIO_InitStruct.Mode = GPIO_MODE_EVT_RISING;
  GPIO_InitStruct.Pull = GPIO_NOPULL;
  HAL_GPIO_Init(GPIOC, &GPIO_InitStruct);

  /*Configure GPIO pins : PC0 MAG_INT_Pin MAG_DRDY_Pin */
  GPIO_InitStruct.Pin = GPIO_PIN_0|MAG_INT_Pin|MAG_DRDY_Pin;
  GPIO_InitStruct.Mode = GPIO_MODE_INPUT;
  GPIO_InitStruct.Pull = GPIO_NOPULL;
  HAL_GPIO_Init(GPIOC, &GPIO_InitStruct);

  /*Configure GPIO pins : JOY_CENTER_Pin JOY_LEFT_Pin */
  GPIO_InitStruct.Pin = JOY_CENTER_Pin|JOY_LEFT_Pin;
  GPIO_InitStruct.Mode = GPIO_MODE_IT_RISING;
  GPIO_InitStruct.Pull = GPIO_PULLDOWN;
  HAL_GPIO_Init(GPIOA, &GPIO_InitStruct);

  /*Configure GPIO pins : JOY_RIGHT_Pin JOY_UP_Pin JOY_DOWN_Pin */
  GPIO_InitStruct.Pin = JOY_RIGHT_Pin|JOY_UP_Pin|JOY_DOWN_Pin;
  GPIO_InitStruct.Mode = GPIO_MODE_INPUT;
  GPIO_InitStruct.Pull = GPIO_PULLDOWN;
  HAL_GPIO_Init(GPIOA, &GPIO_InitStruct);

  /*Configure GPIO pin : MFX_WAKEUP_Pin */
  GPIO_InitStruct.Pin = MFX_WAKEUP_Pin;
  GPIO_InitStruct.Mode = GPIO_MODE_EVT_RISING;
  GPIO_InitStruct.Pull = GPIO_NOPULL;
  HAL_GPIO_Init(MFX_WAKEUP_GPIO_Port, &GPIO_InitStruct);

  /*Configure GPIO pin : LD_R_Pin */
  GPIO_InitStruct.Pin = LD_R_Pin;
  GPIO_InitStruct.Mode = GPIO_MODE_OUTPUT_PP;
  GPIO_InitStruct.Pull = GPIO_PULLUP;
  GPIO_InitStruct.Speed = GPIO_SPEED_FREQ_VERY_HIGH;
  HAL_GPIO_Init(LD_R_GPIO_Port, &GPIO_InitStruct);

  /*Configure GPIO pin : LD_G_Pin */
  GPIO_InitStruct.Pin = LD_G_Pin;
  GPIO_InitStruct.Mode = GPIO_MODE_OUTPUT_PP;
  GPIO_InitStruct.Pull = GPIO_PULLUP;
  GPIO_InitStruct.Speed = GPIO_SPEED_FREQ_VERY_HIGH;
  HAL_GPIO_Init(LD_G_GPIO_Port, &GPIO_InitStruct);

  /*Configure GPIO pin : AUDIO_CLK_Pin */
  GPIO_InitStruct.Pin = AUDIO_CLK_Pin;
  GPIO_InitStruct.Mode = GPIO_MODE_AF_PP;
  GPIO_InitStruct.Pull = GPIO_NOPULL;
  GPIO_InitStruct.Speed = GPIO_SPEED_FREQ_LOW;
  GPIO_InitStruct.Alternate = GPIO_AF13_SAI1;
  HAL_GPIO_Init(AUDIO_CLK_GPIO_Port, &GPIO_InitStruct);

  /*Configure GPIO pins : QSPI_CLK_Pin QSPI_CS_Pin QSPI_D0_Pin QSPI_D1_Pin
                           QSPI_D2_Pin QSPI_D3_Pin */
  GPIO_InitStruct.Pin = QSPI_CLK_Pin|QSPI_CS_Pin|QSPI_D0_Pin|QSPI_D1_Pin
                          |QSPI_D2_Pin|QSPI_D3_Pin;
  GPIO_InitStruct.Mode = GPIO_MODE_AF_PP;
  GPIO_InitStruct.Pull = GPIO_NOPULL;
  GPIO_InitStruct.Speed = GPIO_SPEED_FREQ_VERY_HIGH;
  GPIO_InitStruct.Alternate = GPIO_AF10_QUADSPI;
  HAL_GPIO_Init(GPIOE, &GPIO_InitStruct);

  /*Configure GPIO pins : MFX_I2C_SLC_Pin MFX_I2C_SDA_Pin */
  GPIO_InitStruct.Pin = MFX_I2C_SLC_Pin|MFX_I2C_SDA_Pin;
  GPIO_InitStruct.Mode = GPIO_MODE_AF_OD;
  GPIO_InitStruct.Pull = GPIO_PULLUP;
  GPIO_InitStruct.Speed = GPIO_SPEED_FREQ_VERY_HIGH;
  GPIO_InitStruct.Alternate = GPIO_AF4_I2C2;
  HAL_GPIO_Init(GPIOB, &GPIO_InitStruct);

  /*Configure GPIO pins : OTG_FS_PowerSwitchOn_Pin OTG_FS_VBUS_Pin */
  GPIO_InitStruct.Pin = OTG_FS_PowerSwitchOn_Pin|OTG_FS_VBUS_Pin;
  GPIO_InitStruct.Mode = GPIO_MODE_OUTPUT_PP;
  GPIO_InitStruct.Pull = GPIO_NOPULL;
  GPIO_InitStruct.Speed = GPIO_SPEED_FREQ_LOW;
  HAL_GPIO_Init(GPIOC, &GPIO_InitStruct);

  /*Configure GPIO pins : OTG_FS_DM_Pin OTG_FS_DP_Pin */
  GPIO_InitStruct.Pin = OTG_FS_DM_Pin|OTG_FS_DP_Pin;
  GPIO_InitStruct.Mode = GPIO_MODE_AF_PP;
  GPIO_InitStruct.Pull = GPIO_NOPULL;
  GPIO_InitStruct.Speed = GPIO_SPEED_FREQ_VERY_HIGH;
  GPIO_InitStruct.Alternate = GPIO_AF10_OTG_FS;
  HAL_GPIO_Init(GPIOA, &GPIO_InitStruct);

  /*Configure GPIO pin : IR_IN_Pin */
  GPIO_InitStruct.Pin = IR_IN_Pin;
  GPIO_InitStruct.Mode = GPIO_MODE_INPUT;
  GPIO_InitStruct.Pull = GPIO_NOPULL;
  HAL_GPIO_Init(IR_IN_GPIO_Port, &GPIO_InitStruct);

  /*Configure GPIO pins : MEMS_SCK_Pin MEMS_MISO_Pin MEMS_MOSI_Pin */
  GPIO_InitStruct.Pin = MEMS_SCK_Pin|MEMS_MISO_Pin|MEMS_MOSI_Pin;
  GPIO_InitStruct.Mode = GPIO_MODE_AF_PP;
  GPIO_InitStruct.Pull = GPIO_NOPULL;
  GPIO_InitStruct.Speed = GPIO_SPEED_FREQ_VERY_HIGH;
  GPIO_InitStruct.Alternate = GPIO_AF5_SPI2;
  HAL_GPIO_Init(GPIOD, &GPIO_InitStruct);

  /*Configure GPIO pin : GYRO_INT1_Pin */
  GPIO_InitStruct.Pin = GYRO_INT1_Pin;
  GPIO_InitStruct.Mode = GPIO_MODE_EVT_RISING;
  GPIO_InitStruct.Pull = GPIO_NOPULL;
  HAL_GPIO_Init(GYRO_INT1_GPIO_Port, &GPIO_InitStruct);

  /*Configure GPIO pins : USART_TX_Pin USART_RX_Pin */
  GPIO_InitStruct.Pin = USART_TX_Pin|USART_RX_Pin;
  GPIO_InitStruct.Mode = GPIO_MODE_AF_PP;
  GPIO_InitStruct.Pull = GPIO_PULLUP;
  GPIO_InitStruct.Speed = GPIO_SPEED_FREQ_VERY_HIGH;
  GPIO_InitStruct.Alternate = GPIO_AF7_USART2;
  HAL_GPIO_Init(GPIOD, &GPIO_InitStruct);

  /*Configure GPIO pin : GYRO_CS_Pin */
  GPIO_InitStruct.Pin = GYRO_CS_Pin;
  GPIO_InitStruct.Mode = GPIO_MODE_OUTPUT_PP;
  GPIO_InitStruct.Pull = GPIO_NOPULL;
  GPIO_InitStruct.Speed = GPIO_SPEED_FREQ_VERY_HIGH;
  HAL_GPIO_Init(GYRO_CS_GPIO_Port, &GPIO_InitStruct);

  /*Configure GPIO pin : M3V3_REG_ON_Pin */
  GPIO_InitStruct.Pin = M3V3_REG_ON_Pin;
  GPIO_InitStruct.Mode = GPIO_MODE_OUTPUT_PP;
  GPIO_InitStruct.Pull = GPIO_NOPULL;
  GPIO_InitStruct.Speed = GPIO_SPEED_FREQ_LOW;
  HAL_GPIO_Init(M3V3_REG_ON_GPIO_Port, &GPIO_InitStruct);

  /*Configure GPIO pins : I2C1_SCL_Pin I2C1_SDA_Pin */
  GPIO_InitStruct.Pin = I2C1_SCL_Pin|I2C1_SDA_Pin;
  GPIO_InitStruct.Mode = GPIO_MODE_AF_OD;
  GPIO_InitStruct.Pull = GPIO_PULLUP;
  GPIO_InitStruct.Speed = GPIO_SPEED_FREQ_VERY_HIGH;
  GPIO_InitStruct.Alternate = GPIO_AF4_I2C1;
  HAL_GPIO_Init(GPIOB, &GPIO_InitStruct);

  /*Configure GPIO pin : GYRO_INT2_Pin */
  GPIO_InitStruct.Pin = GYRO_INT2_Pin;
  GPIO_InitStruct.Mode = GPIO_MODE_EVT_RISING;
  GPIO_InitStruct.Pull = GPIO_NOPULL;
  HAL_GPIO_Init(GYRO_INT2_GPIO_Port, &GPIO_InitStruct);

  /*Configure GPIO pin : XL_CS_Pin */
  GPIO_InitStruct.Pin = XL_CS_Pin;
  GPIO_InitStruct.Mode = GPIO_MODE_OUTPUT_PP;
  GPIO_InitStruct.Pull = GPIO_NOPULL;
  GPIO_InitStruct.Speed = GPIO_SPEED_FREQ_LOW;
  HAL_GPIO_Init(XL_CS_GPIO_Port, &GPIO_InitStruct);

  /* EXTI interrupt init*/
  HAL_NVIC_SetPriority(EXTI0_IRQn, 0, 0);
  HAL_NVIC_EnableIRQ(EXTI0_IRQn);

  HAL_NVIC_SetPriority(EXTI1_IRQn, 0, 0);
  HAL_NVIC_EnableIRQ(EXTI1_IRQn);

}

void Error_Handler(void)
{
  __disable_irq();
  while (1)
  {
  }
}
